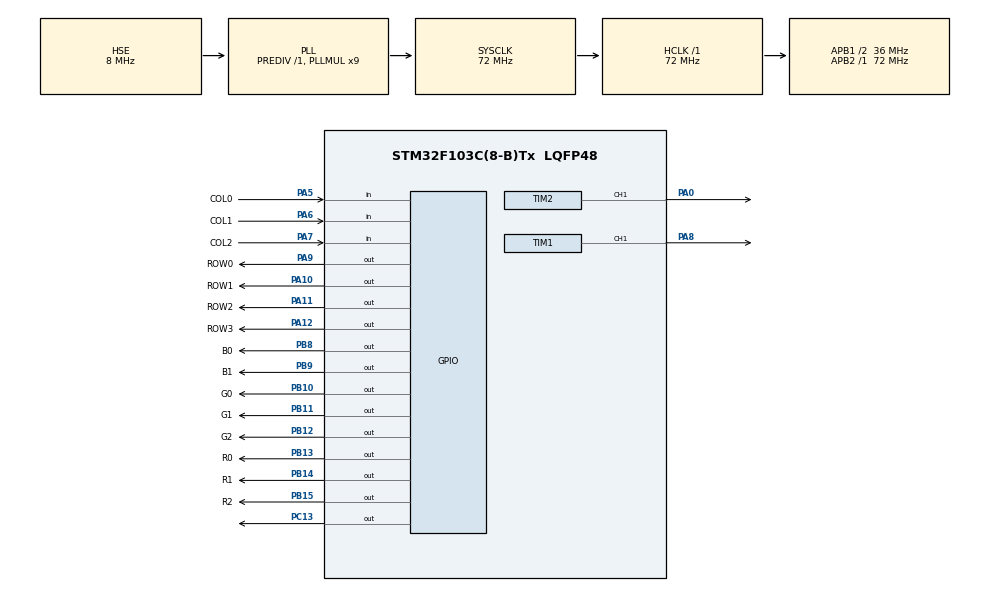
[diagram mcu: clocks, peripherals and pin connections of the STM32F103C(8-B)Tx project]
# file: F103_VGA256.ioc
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Dma.Request0=TIM4_UP
Dma.TIM4_UP.0.Direction=DMA_MEMORY_TO_PERIPH
Dma.TIM4_UP.0.Instance=DMA1_Channel7
Dma.TIM4_UP.0.MemDataAlignment=DMA_MDATAALIGN_BYTE
Dma.TIM4_UP.0.MemInc=DMA_MINC_ENABLE
Dma.TIM4_UP.0.Mode=DMA_CIRCULAR
Dma.TIM4_UP.0.PeriphDataAlignment=DMA_PDATAALIGN_BYTE
Dma.TIM4_UP.0.PeriphInc=DMA_PINC_DISABLE
Dma.TIM4_UP.0.Priority=DMA_PRIORITY_VERY_HIGH
Mcu.Family=STM32F1
Mcu.Name=STM32F103C(8-B)Tx
Mcu.Package=LQFP48
NVIC.DMA1_Channel7_IRQn=true\:0\:0\:false\:false\:true\:false\:true\:true
NVIC.PriorityGroup=NVIC_PRIORITYGROUP_4
NVIC.TIM2_IRQn=true\:0\:0\:false\:false\:true\:true\:true\:true
PA0-WKUP.Signal=S_TIM2_CH1_ETR
PA10.GPIO_Label=ROW1
PA10.Signal=GPIO_Output
PA11.GPIO_Label=ROW2
PA11.Signal=GPIO_Output
PA12.GPIO_Label=ROW3
PA12.Signal=GPIO_Output
PA13.Mode=Serial_Wire
PA13.Signal=SYS_JTMS-SWDIO
PA14.Mode=Serial_Wire
PA14.Signal=SYS_JTCK-SWCLK
PA5.GPIO_Label=COL0
PA5.GPIO_PuPd=GPIO_PULLUP
PA5.Signal=GPIO_Input
PA6.GPIO_Label=COL1
PA6.GPIO_PuPd=GPIO_PULLUP
PA6.Signal=GPIO_Input
PA7.GPIO_Label=COL2
PA7.GPIO_PuPd=GPIO_PULLUP
PA7.Signal=GPIO_Input
PA8.Signal=S_TIM1_CH1
PA9.GPIO_Label=ROW0
PA9.Signal=GPIO_Output
PB10.GPIO_Label=G0
PB10.Signal=GPIO_Output
PB11.GPIO_Label=G1
PB11.Signal=GPIO_Output
PB12.GPIO_Label=G2
PB12.Signal=GPIO_Output
PB13.GPIO_Label=R0
PB13.Signal=GPIO_Output
PB14.GPIO_Label=R1
PB14.Signal=GPIO_Output
PB15.GPIO_Label=R2
PB15.Signal=GPIO_Output
PB8.GPIO_Label=B0
PB8.Signal=GPIO_Output
PB9.GPIO_Label=B1
PB9.Signal=GPIO_Output
PC13-TAMPER-RTC.Signal=GPIO_Output
PD0-OSC_IN.Mode=HSE-External-Oscillator
PD0-OSC_IN.Signal=RCC_OSC_IN
PD1-OSC_OUT.Mode=HSE-External-Oscillator
PD1-OSC_OUT.Signal=RCC_OSC_OUT
ProjectManager.HeapSize=0x200
ProjectManager.StackSize=0x400
ProjectManager.TargetToolchain=STM32CubeIDE
RCC.AHBFreq_Value=72000000
RCC.APB1CLKDivider=RCC_HCLK_DIV2
RCC.APB1Freq_Value=36000000
RCC.APB1TimFreq_Value=72000000
RCC.APB2Freq_Value=72000000
RCC.APB2TimFreq_Value=72000000
RCC.HCLKFreq_Value=72000000
RCC.PLLMUL=RCC_PLL_MUL9
RCC.PLLSourceVirtual=RCC_PLLSOURCE_HSE
RCC.SYSCLKFreq_VALUE=72000000
RCC.SYSCLKSource=RCC_SYSCLKSOURCE_PLLCLK
RCC.USBFreq_Value=72000000
SH.S_TIM1_CH1.0=TIM1_CH1,PWM Generation1 CH1
SH.S_TIM2_CH1_ETR.0=TIM2_CH1,PWM Generation1 CH1
TIM1.AutoReloadPreload=TIM_AUTORELOAD_PRELOAD_ENABLE
TIM1.Channel-PWM\ Generation1\ CH1=TIM_CHANNEL_1
TIM1.Period=1024-1
TIM1.Prescaler=2-1
TIM1.Pulse-PWM\ Generation1\ CH1=72-1
TIM1.TIM_MasterOutputTrigger=TIM_TRGO_UPDATE
TIM2.AutoReloadPreload=TIM_AUTORELOAD_PRELOAD_ENABLE
TIM2.Channel-PWM\ Generation1\ CH1=TIM_CHANNEL_1
TIM2.Period=625-2
TIM2.Pulse-PWM\ Generation1\ CH1=2
TIM2.TIM_MasterOutputTrigger=TIM_TRGO_UPDATE
TIM4.AutoReloadPreload=TIM_AUTORELOAD_PRELOAD_ENABLE
TIM4.Period=7
TIM4.Prescaler=1
TIM4.TIM_MasterOutputTrigger=TIM_TRGO_UPDATE
VP_TIM1_VS_ClockSourceINT.Mode=Internal
VP_TIM2_VS_ClockSourceITR.Mode=TriggerSource_ITR0
VP_TIM2_VS_ControllerModeClock.Mode=Clock Mode
VP_TIM4_VS_ClockSourceINT.Mode=Internal
board=custom

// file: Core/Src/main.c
/* USER CODE BEGIN Header */
/**
  ******************************************************************************
  * @file           : main.c
  * @brief          : Main program body
  ******************************************************************************
  * @attention
  *
  * Copyright (c) 2023 STMicroelectronics.
  * All rights reserved.
  *
  * This software is licensed under terms that can be found in the LICENSE file
  * in the root directory of this software component.
  * If no LICENSE file comes with this software, it is provided AS-IS.
  *
  ******************************************************************************
  */
/* USER CODE END Header */
#include "main.h"

/* USER CODE BEGIN Includes */
#include <stdio.h>
#include <stdlib.h>
#include <string.h>
#include <vga256.h>
#include "color100.h"
#include "flower100.h"
#include "rgb100.h"
#include "tetris.h"
/* USER CODE END Includes */

TIM_HandleTypeDef htim1;
TIM_HandleTypeDef htim2;
TIM_HandleTypeDef htim4;
DMA_HandleTypeDef hdma_tim4_up;

/* USER CODE BEGIN PV */
//uint16_t VOFFSET=3,preVoffset=3500;
uint16_t VOFFSET=0,preVoffset=95;
uint16_t vga_stop=0;
int16_t line=0;
uint16_t firstTrig=1;

GPIO_TypeDef *keyPort = GPIOA;
uint16_t keyRowPin[4] = {GPIO_PIN_9,GPIO_PIN_10,GPIO_PIN_11,GPIO_PIN_12};
uint16_t keyColPin[3] = {GPIO_PIN_5,GPIO_PIN_6,GPIO_PIN_7};
int keyMap[4][3] = {{1,2,3},{4,5,6},{7,8,9},{11,10,12}};
uint16_t vga_voff[16];
uint32_t GPIOB_ODR;
//NOTE: We can not use GPIOB for other GPIOs because we sent data directly to GPIOB
char msg[64];
/* USER CODE END PV */

void SystemClock_Config(void);
static void MX_GPIO_Init(void);
static void MX_DMA_Init(void);
static void MX_TIM1_Init(void);
static void MX_TIM2_Init(void);
static void MX_TIM4_Init(void);

/* USER CODE BEGIN 0 */
void VGA_update(){
	vga_voff[0]=VOFFSET;
	for(int i=1;i<16;i++){
		vga_voff[i]=vga_voff[i-1]+VGA_LBUFFERSIZE;
	}
}

extern void tetrisDelay(int ms){
	HAL_Delay(ms);
}

extern uint32_t tetrisSeed(){
	return TIM1->CNT+TIM2->CNT+TIM4->CNT;
}

extern uint8_t getch(uint8_t *ch){
	for(int i=0;i<4;i++){
		//Prime row output for ready to bring col to ground
		HAL_GPIO_WritePin(keyPort,keyRowPin[i],0);
	}
	//Detect column pressed
	int i,j;
	for(i=0;i<3;i++){
		if(HAL_GPIO_ReadPin(keyPort,keyColPin[i])==0){
			//Testing for row
			for(j=0;j<4;j++){
				HAL_GPIO_WritePin(keyPort,keyRowPin[j],1);
				if(HAL_GPIO_ReadPin(keyPort,keyColPin[i]))
					break;
			}
	    }
		if(j<4)break;
	}
    if(i<3){  //a key is pressed
    	*ch = keyMap[j][i];
    	return 1;
    }
    return 0;
}

void HAL_TIM_PeriodElapsedCallback(TIM_HandleTypeDef* htim)
{
     if(htim==&htim2){
     //V-sync detected
		line=-4;
		if(firstTrig){
			for(int i=0;i<preVoffset;i++);
			if(
            HAL_DMA_Start_IT(&hdma_tim4_up,(uint32_t)VGA_obuffer,GPIOB_ODR,VGA_FULL)
			!= HAL_OK){
				while(1){
					HAL_GPIO_TogglePin(GPIOC,GPIO_PIN_13);
					HAL_Delay(1000);
				}
			}
			firstTrig=0;
		}
	}
}

static void DMA_HalfCpltCallback(DMA_HandleTypeDef *hdma){
     //fill in line1
	if((line<0)||(line>=VGA_VBUFFER)){
		memset((uint8_t *)VGA_obuffer,0,VGA_FULL);
	}else{
		for(int i=0;i<8;i++){
			memcpy((uint8_t *)VGA_obuffer + vga_voff[i],VGA_buffer[line],VGA_LBUFFER);
		}
	}
	line++;
	if(vga_stop){
		HAL_DMA_Abort_IT(&hdma_tim4_up);
		firstTrig=1;
		vga_stop=0;
		VGA_update();
	}
	if(line>=VGA_VBUFFER && !firstTrig){
		HAL_DMA_Abort_IT(&hdma_tim4_up);
		firstTrig=1;
	}
}

static void DMA_CpltCallback(DMA_HandleTypeDef *hdma){
    //fill in line2 (later half)
	if((line<0)||(line>=VGA_VBUFFER)){
		memset((uint8_t *)VGA_obuffer,0,VGA_FULL);
	}else{
		for(int i=8;i<16;i++){
			memcpy((uint8_t *)VGA_obuffer + vga_voff[i],VGA_buffer[line],VGA_LBUFFER);
		}
	}
	line++;
	if(vga_stop){
		HAL_DMA_Abort_IT(&hdma_tim4_up);
		firstTrig=1;
		vga_stop=0;
		VGA_update();
	}
	if(line>=VGA_VBUFFER && !firstTrig){
		HAL_DMA_Abort_IT(&hdma_tim4_up);
		firstTrig=1;
	}
}

/* USER CODE END 0 */

int main(void)
{
  /* USER CODE BEGIN 1 */
  VGA_update();
  /* USER CODE END 1 */

  /* MCU Configuration--------------------------------------------------------*/

  /* Reset of all peripherals, Initializes the Flash interface and the Systick. */
  HAL_Init();

  /* Configure the system clock */
  SystemClock_Config();

  /* Initialize all configured peripherals */
  MX_GPIO_Init();
  MX_DMA_Init();
  MX_TIM1_Init();
  MX_TIM2_Init();
  MX_TIM4_Init();
  /* USER CODE BEGIN 2 */
  HAL_DMA_Abort(&hdma_tim4_up);
    if(
    	  HAL_DMA_RegisterCallback(&hdma_tim4_up,HAL_DMA_XFER_HALFCPLT_CB_ID,DMA_HalfCpltCallback)
    	  !=HAL_OK){
    	  while(1){
    		  HAL_GPIO_TogglePin(GPIOC,GPIO_PIN_13);
    		  HAL_Delay(500);
    	  }
    }
    if(
          HAL_DMA_RegisterCallback(&hdma_tim4_up,HAL_DMA_XFER_CPLT_CB_ID,DMA_CpltCallback)
          !=HAL_OK){
    	  while(1){
    		  HAL_GPIO_TogglePin(GPIOC,GPIO_PIN_13);
    		  HAL_Delay(250);
    	  }
    }
    GPIOB_ODR = (uint32_t)&(GPIOB->ODR)+1;

    //Start GPIO-DMA output
    __HAL_DMA_ENABLE_IT(&hdma_tim4_up,DMA_IT_TC);
    __HAL_DMA_ENABLE_IT(&hdma_tim4_up,DMA_IT_HT);
    __HAL_TIM_ENABLE_DMA(&htim4, TIM_DMA_UPDATE);
    HAL_TIM_Base_Start(&htim4);

    //Start H-sync
    HAL_TIM_Base_Start_IT(&htim1);
    HAL_TIM_PWM_Start(&htim1,TIM_CHANNEL_1);

    //Start V-sync
    HAL_TIM_Base_Start_IT(&htim2);
    HAL_TIM_PWM_Start(&htim2,TIM_CHANNEL_1);

    HAL_Delay(100);
    vga_stop=1;

    ClearScreen(VGA_BLACK);
    DrawRectangle(0,0,VGA_WIDTH-1,VGA_HEIGHT-1,VGA_WHITE);
    char msg[32]="Testing";
    SetCursor(3,3);
    WriteString(msg,Font_7x10,VGA_GREEN);
  /* USER CODE END 2 */

  /* Infinite loop */
  /* USER CODE BEGIN WHILE */

  int r,x,y,w,h,z=0,c;
  while (1)
  {
// If you want to only try Tetris, uncomment here
//	  tetris();
//	  continue;

	  r = rand()%25;
	  x = rand()%VGA_WIDTH;
	  y = rand()%VGA_HEIGHT;
	  c = rand()%256;
	  DrawCircle(x,y,r,c);
	  r = rand()%25;
	  x = rand()%VGA_WIDTH;
	  y = rand()%VGA_HEIGHT;
	  c = rand()%256;
	  FillCircle(x,y,r,c);
	  x = rand()%VGA_WIDTH;
	  y = rand()%VGA_HEIGHT;
	  w = rand()%30;
	  h = rand()%30;
	  c = rand()%256;
	  DrawRectangle(x,y,x+w,y+h,c);
	  x = rand()%VGA_WIDTH;
	  y = rand()%VGA_HEIGHT;
	  w = rand()%30;
	  h = rand()%30;
	  c = rand()%256;
	  FillRectangle(x,y,w,h,c);

	  /*
	  {
		  uint8_t ch;
	      if(getch(&ch)){
	    	  sprintf(msg,"%d",ch);
	    	  SetCursor(1,1);
	    	  WriteString(msg,Font_7x10,VGA_WHITE);
	      }
	  }
	  HAL_Delay(100);
	  continue;
	  */
	  z=z+1;
	  if(z>=100){
		  /////////
		  ClearScreen(VGA_BLACK);
		  ShowImage((uint8_t *)colors,100,75,0,0);
		  HAL_Delay(5000);
		  ShowImage((uint8_t *)flower,100,63,0,0);
		  HAL_Delay(5000);
		  ShowImage((uint8_t *)rgb,100,75,0,0);
		  HAL_Delay(5000);

		  tetris();
		  //////////
		  z=0;
		  ClearScreen(VGA_BLACK);
		  HAL_Delay(100);
		  vga_stop=1;
		  sprintf(msg,"Testing");
		  DrawRectangle(0,0,VGA_WIDTH-1,VGA_HEIGHT-1,VGA_WHITE);
		  SetCursor(3,3);
		  WriteString(msg,Font_7x10,VGA_GREEN);
		  sprintf(msg,"%d ",VOFFSET);
		  SetCursor(3,50);
		  WriteString(msg,Font_7x10,VGA_WHITE);
	  }
	  HAL_Delay(100);
    /* USER CODE END WHILE */

  }
}

void SystemClock_Config(void)
{
  RCC_OscInitTypeDef RCC_OscInitStruct = {0};
  RCC_ClkInitTypeDef RCC_ClkInitStruct = {0};

  /** Initializes the RCC Oscillators according to the specified parameters
  * in the RCC_OscInitTypeDef structure.
  */
  RCC_OscInitStruct.OscillatorType = RCC_OSCILLATORTYPE_HSE;
  RCC_OscInitStruct.HSEState = RCC_HSE_ON;
  RCC_OscInitStruct.HSEPredivValue = RCC_HSE_PREDIV_DIV1;
  RCC_OscInitStruct.HSIState = RCC_HSI_ON;
  RCC_OscInitStruct.PLL.PLLState = RCC_PLL_ON;
  RCC_OscInitStruct.PLL.PLLSource = RCC_PLLSOURCE_HSE;
  RCC_OscInitStruct.PLL.PLLMUL = RCC_PLL_MUL9;
  if (HAL_RCC_OscConfig(&RCC_OscInitStruct) != HAL_OK)
  {
    Error_Handler();
  }

  /** Initializes the CPU, AHB and APB buses clocks
  */
  RCC_ClkInitStruct.ClockType = RCC_CLOCKTYPE_HCLK|RCC_CLOCKTYPE_SYSCLK
                              |RCC_CLOCKTYPE_PCLK1|RCC_CLOCKTYPE_PCLK2;
  RCC_ClkInitStruct.SYSCLKSource = RCC_SYSCLKSOURCE_PLLCLK;
  RCC_ClkInitStruct.AHBCLKDivider = RCC_SYSCLK_DIV1;
  RCC_ClkInitStruct.APB1CLKDivider = RCC_HCLK_DIV2;
  RCC_ClkInitStruct.APB2CLKDivider = RCC_HCLK_DIV1;

  if (HAL_RCC_ClockConfig(&RCC_ClkInitStruct, FLASH_LATENCY_2) != HAL_OK)
  {
    Error_Handler();
  }
}

static void MX_TIM1_Init(void)
{

  TIM_ClockConfigTypeDef sClockSourceConfig = {0};
  TIM_MasterConfigTypeDef sMasterConfig = {0};
  TIM_OC_InitTypeDef sConfigOC = {0};
  TIM_BreakDeadTimeConfigTypeDef sBreakDeadTimeConfig = {0};

  htim1.Instance = TIM1;
  htim1.Init.Prescaler = 2-1;
  htim1.Init.CounterMode = TIM_COUNTERMODE_UP;
  htim1.Init.Period = 1024-1;
  htim1.Init.ClockDivision = TIM_CLOCKDIVISION_DIV1;
  htim1.Init.RepetitionCounter = 0;
  htim1.Init.AutoReloadPreload = TIM_AUTORELOAD_PRELOAD_ENABLE;
  if (HAL_TIM_Base_Init(&htim1) != HAL_OK)
  {
    Error_Handler();
  }
  sClockSourceConfig.ClockSource = TIM_CLOCKSOURCE_INTERNAL;
  if (HAL_TIM_ConfigClockSource(&htim1, &sClockSourceConfig) != HAL_OK)
  {
    Error_Handler();
  }
  if (HAL_TIM_PWM_Init(&htim1) != HAL_OK)
  {
    Error_Handler();
  }
  sMasterConfig.MasterOutputTrigger = TIM_TRGO_UPDATE;
  sMasterConfig.MasterSlaveMode = TIM_MASTERSLAVEMODE_DISABLE;
  if (HAL_TIMEx_MasterConfigSynchronization(&htim1, &sMasterConfig) != HAL_OK)
  {
    Error_Handler();
  }
  sConfigOC.OCMode = TIM_OCMODE_PWM1;
  sConfigOC.Pulse = 72-1;
  sConfigOC.OCPolarity = TIM_OCPOLARITY_HIGH;
  sConfigOC.OCNPolarity = TIM_OCNPOLARITY_HIGH;
  sConfigOC.OCFastMode = TIM_OCFAST_DISABLE;
  sConfigOC.OCIdleState = TIM_OCIDLESTATE_RESET;
  sConfigOC.OCNIdleState = TIM_OCNIDLESTATE_RESET;
  if (HAL_TIM_PWM_ConfigChannel(&htim1, &sConfigOC, TIM_CHANNEL_1) != HAL_OK)
  {
    Error_Handler();
  }
  sBreakDeadTimeConfig.OffStateRunMode = TIM_OSSR_DISABLE;
  sBreakDeadTimeConfig.OffStateIDLEMode = TIM_OSSI_DISABLE;
  sBreakDeadTimeConfig.LockLevel = TIM_LOCKLEVEL_OFF;
  sBreakDeadTimeConfig.DeadTime = 0;
  sBreakDeadTimeConfig.BreakState = TIM_BREAK_DISABLE;
  sBreakDeadTimeConfig.BreakPolarity = TIM_BREAKPOLARITY_HIGH;
  sBreakDeadTimeConfig.AutomaticOutput = TIM_AUTOMATICOUTPUT_DISABLE;
  if (HAL_TIMEx_ConfigBreakDeadTime(&htim1, &sBreakDeadTimeConfig) != HAL_OK)
  {
    Error_Handler();
  }
  HAL_TIM_MspPostInit(&htim1);

}

static void MX_TIM2_Init(void)
{

  TIM_SlaveConfigTypeDef sSlaveConfig = {0};
  TIM_MasterConfigTypeDef sMasterConfig = {0};
  TIM_OC_InitTypeDef sConfigOC = {0};

  htim2.Instance = TIM2;
  htim2.Init.Prescaler = 0;
  htim2.Init.CounterMode = TIM_COUNTERMODE_UP;
  htim2.Init.Period = 625-2;
  htim2.Init.ClockDivision = TIM_CLOCKDIVISION_DIV1;
  htim2.Init.AutoReloadPreload = TIM_AUTORELOAD_PRELOAD_ENABLE;
  if (HAL_TIM_Base_Init(&htim2) != HAL_OK)
  {
    Error_Handler();
  }
  if (HAL_TIM_PWM_Init(&htim2) != HAL_OK)
  {
    Error_Handler();
  }
  sSlaveConfig.SlaveMode = TIM_SLAVEMODE_EXTERNAL1;
  sSlaveConfig.InputTrigger = TIM_TS_ITR0;
  if (HAL_TIM_SlaveConfigSynchro(&htim2, &sSlaveConfig) != HAL_OK)
  {
    Error_Handler();
  }
  sMasterConfig.MasterOutputTrigger = TIM_TRGO_UPDATE;
  sMasterConfig.MasterSlaveMode = TIM_MASTERSLAVEMODE_DISABLE;
  if (HAL_TIMEx_MasterConfigSynchronization(&htim2, &sMasterConfig) != HAL_OK)
  {
    Error_Handler();
  }
  sConfigOC.OCMode = TIM_OCMODE_PWM1;
  sConfigOC.Pulse = 2;
  sConfigOC.OCPolarity = TIM_OCPOLARITY_HIGH;
  sConfigOC.OCFastMode = TIM_OCFAST_DISABLE;
  if (HAL_TIM_PWM_ConfigChannel(&htim2, &sConfigOC, TIM_CHANNEL_1) != HAL_OK)
  {
    Error_Handler();
  }
  HAL_TIM_MspPostInit(&htim2);

}

static void MX_TIM4_Init(void)
{

  TIM_ClockConfigTypeDef sClockSourceConfig = {0};
  TIM_MasterConfigTypeDef sMasterConfig = {0};

  htim4.Instance = TIM4;
  htim4.Init.Prescaler = 1;
  htim4.Init.CounterMode = TIM_COUNTERMODE_UP;
  htim4.Init.Period = 7;
  htim4.Init.ClockDivision = TIM_CLOCKDIVISION_DIV1;
  htim4.Init.AutoReloadPreload = TIM_AUTORELOAD_PRELOAD_ENABLE;
  if (HAL_TIM_Base_Init(&htim4) != HAL_OK)
  {
    Error_Handler();
  }
  sClockSourceConfig.ClockSource = TIM_CLOCKSOURCE_INTERNAL;
  if (HAL_TIM_ConfigClockSource(&htim4, &sClockSourceConfig) != HAL_OK)
  {
    Error_Handler();
  }
  sMasterConfig.MasterOutputTrigger = TIM_TRGO_UPDATE;
  sMasterConfig.MasterSlaveMode = TIM_MASTERSLAVEMODE_DISABLE;
  if (HAL_TIMEx_MasterConfigSynchronization(&htim4, &sMasterConfig) != HAL_OK)
  {
    Error_Handler();
  }

}

static void MX_DMA_Init(void)
{

  /* DMA controller clock enable */
  __HAL_RCC_DMA1_CLK_ENABLE();

  /* DMA interrupt init */
  /* DMA1_Channel7_IRQn interrupt configuration */
  HAL_NVIC_SetPriority(DMA1_Channel7_IRQn, 0, 0);
  HAL_NVIC_EnableIRQ(DMA1_Channel7_IRQn);

}

static void MX_GPIO_Init(void)
{
  GPIO_InitTypeDef GPIO_InitStruct = {0};

  /* GPIO Ports Clock Enable */
  __HAL_RCC_GPIOC_CLK_ENABLE();
  __HAL_RCC_GPIOD_CLK_ENABLE();
  __HAL_RCC_GPIOA_CLK_ENABLE();
  __HAL_RCC_GPIOB_CLK_ENABLE();

  /*Configure GPIO pin Output Level */
  HAL_GPIO_WritePin(GPIOC, GPIO_PIN_13, GPIO_PIN_RESET);

  /*Configure GPIO pin Output Level */
  HAL_GPIO_WritePin(GPIOB, G0_Pin|G1_Pin|G2_Pin|R0_Pin
                          |R1_Pin|R2_Pin|B0_Pin|B1_Pin, GPIO_PIN_RESET);

  /*Configure GPIO pin Output Level */
  HAL_GPIO_WritePin(GPIOA, ROW0_Pin|ROW1_Pin|ROW2_Pin|ROW3_Pin, GPIO_PIN_RESET);

  /*Configure GPIO pin : PC13 */
  GPIO_InitStruct.Pin = GPIO_PIN_13;
  GPIO_InitStruct.Mode = GPIO_MODE_OUTPUT_PP;
  GPIO_InitStruct.Pull = GPIO_NOPULL;
  GPIO_InitStruct.Speed = GPIO_SPEED_FREQ_LOW;
  HAL_GPIO_Init(GPIOC, &GPIO_InitStruct);

  /*Configure GPIO pins : COL0_Pin COL1_Pin COL2_Pin */
  GPIO_InitStruct.Pin = COL0_Pin|COL1_Pin|COL2_Pin;
  GPIO_InitStruct.Mode = GPIO_MODE_INPUT;
  GPIO_InitStruct.Pull = GPIO_PULLUP;
  HAL_GPIO_Init(GPIOA, &GPIO_InitStruct);

  /*Configure GPIO pins : G0_Pin G1_Pin G2_Pin R0_Pin
                           R1_Pin R2_Pin B0_Pin B1_Pin */
  GPIO_InitStruct.Pin = G0_Pin|G1_Pin|G2_Pin|R0_Pin
                          |R1_Pin|R2_Pin|B0_Pin|B1_Pin;
  GPIO_InitStruct.Mode = GPIO_MODE_OUTPUT_PP;
  GPIO_InitStruct.Pull = GPIO_NOPULL;
  GPIO_InitStruct.Speed = GPIO_SPEED_FREQ_LOW;
  HAL_GPIO_Init(GPIOB, &GPIO_InitStruct);

  /*Configure GPIO pins : ROW0_Pin ROW1_Pin ROW2_Pin ROW3_Pin */
  GPIO_InitStruct.Pin = ROW0_Pin|ROW1_Pin|ROW2_Pin|ROW3_Pin;
  GPIO_InitStruct.Mode = GPIO_MODE_OUTPUT_PP;
  GPIO_InitStruct.Pull = GPIO_NOPULL;
  GPIO_InitStruct.Speed = GPIO_SPEED_FREQ_LOW;
  HAL_GPIO_Init(GPIOA, &GPIO_InitStruct);

}

void Error_Handler(void)
{
  __disable_irq();
  while (1)
  {
  }
}
